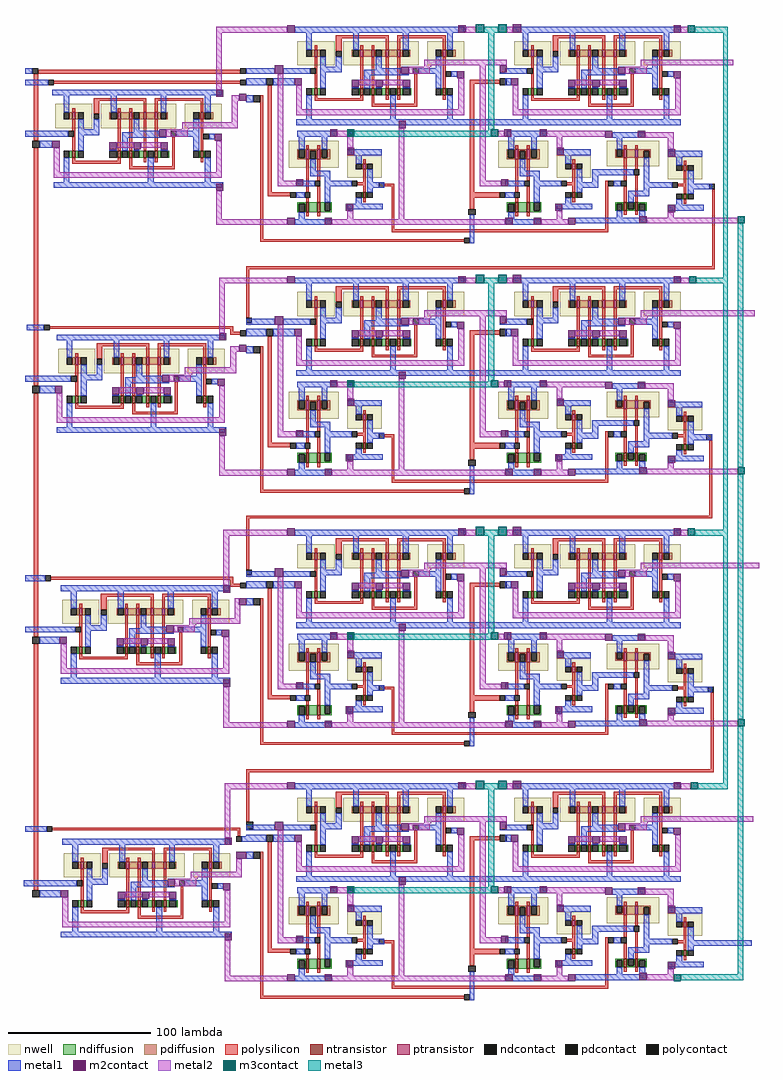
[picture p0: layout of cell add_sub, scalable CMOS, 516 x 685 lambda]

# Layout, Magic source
magic
tech scmos
<< polysilicon >>
rect -146 119 -4 122
rect -149 72 -146 119
rect -135 112 -4 114
rect -149 -100 -146 67
rect 327 -16 329 38
rect 0 -18 329 -16
rect 0 -52 2 -18
rect -138 -60 -9 -58
rect -11 -62 -9 -60
rect -11 -64 -4 -62
rect -149 -276 -146 -105
rect 325 -191 327 -138
rect 0 -193 327 -191
rect 0 -229 2 -193
rect -137 -236 -9 -234
rect -11 -239 -9 -236
rect -11 -241 -4 -239
rect -149 -454 -146 -281
rect 326 -369 328 -315
rect 0 -371 328 -369
rect 0 -406 2 -371
rect -136 -412 -4 -410
rect -6 -416 -4 -412
<< polycontact >>
rect -150 119 -146 123
rect -4 119 0 123
rect -139 111 -135 115
rect -4 111 0 115
rect -150 67 -145 72
rect 325 38 329 42
rect 0 -56 4 -52
rect -142 -61 -138 -57
rect -4 -65 0 -61
rect -150 -105 -145 -100
rect 323 -138 327 -134
rect 0 -233 4 -229
rect -141 -237 -137 -233
rect -4 -242 0 -238
rect -150 -281 -145 -276
rect 324 -315 328 -311
rect -140 -413 -136 -409
rect 0 -411 5 -406
rect -7 -420 -3 -416
rect -150 -459 -145 -454
<< metal1 >>
rect -155 119 -150 123
rect -155 111 -139 115
rect -136 104 -135 108
rect -155 75 -140 79
rect -145 67 -140 72
rect -21 42 -16 43
rect -154 -61 -142 -57
rect -155 -97 -138 -93
rect -145 -105 -138 -100
rect -19 -130 -14 -129
rect -155 -237 -141 -233
rect -155 -273 -135 -269
rect -145 -281 -135 -276
rect -16 -306 -11 -305
rect -155 -413 -140 -409
rect -3 -420 0 -416
rect 3 -432 4 -427
rect -156 -451 -134 -447
rect -145 -459 -134 -454
rect -130 -487 -129 -483
rect -15 -484 -10 -483
rect 323 -493 355 -489
<< m2contact >>
rect 29 148 34 153
rect 300 148 305 153
rect -21 103 -16 108
rect -5 100 0 105
rect -21 37 -16 42
rect 29 13 34 18
rect 29 -28 34 -23
rect 300 -28 305 -23
rect -19 -68 -14 -63
rect -5 -76 0 -71
rect -19 -135 -14 -130
rect 29 -163 34 -158
rect 29 -205 34 -200
rect 300 -205 305 -200
rect -16 -245 -11 -240
rect -5 -254 0 -249
rect -16 -311 -11 -306
rect 29 -340 34 -335
rect 29 -383 34 -378
rect 300 -383 305 -378
rect -15 -422 -10 -417
rect -7 -432 0 -427
rect -15 -489 -10 -484
rect 29 -518 34 -513
<< metal2 >>
rect -21 148 29 152
rect 305 148 310 152
rect -21 108 -17 148
rect 315 125 342 129
rect -10 100 -5 104
rect -10 85 -6 100
rect -13 81 -6 85
rect -21 17 -17 37
rect -21 13 29 17
rect 300 14 345 18
rect -19 -28 29 -24
rect 305 -28 311 -24
rect -19 -63 -15 -28
rect 315 -51 357 -47
rect -11 -76 -5 -72
rect -11 -91 -7 -76
rect -19 -159 -15 -135
rect -19 -163 29 -159
rect 300 -162 345 -158
rect -16 -205 29 -201
rect 305 -205 310 -201
rect -16 -240 -12 -205
rect 315 -228 360 -224
rect -8 -254 -5 -249
rect -8 -267 -4 -254
rect -16 -336 -12 -311
rect -16 -340 29 -336
rect 300 -339 345 -335
rect -15 -383 29 -379
rect 305 -383 312 -379
rect -15 -417 -11 -383
rect 315 -406 356 -402
rect -7 -445 -3 -432
rect -15 -514 -11 -489
rect -15 -518 29 -514
<< m3contact >>
rect 310 148 315 153
rect 345 14 350 19
rect 311 -28 316 -23
rect 345 -162 350 -157
rect 310 -205 315 -200
rect 345 -339 350 -334
rect 312 -383 317 -378
rect 300 -518 305 -513
<< metal3 >>
rect 315 148 338 152
rect 335 -24 338 148
rect 316 -28 338 -24
rect 335 -201 338 -28
rect 315 -205 338 -201
rect 335 -379 338 -205
rect 317 -383 338 -379
rect 345 -157 349 14
rect 345 -334 349 -162
rect 345 -513 349 -339
rect 305 -517 349 -513
use full_adder  full_adder_0
transform 1 0 30 0 1 83
box -30 -83 297 71
use full_adder  full_adder_1
transform 1 0 30 0 1 -93
box -30 -83 297 71
use full_adder  full_adder_2
transform 1 0 30 0 1 -270
box -30 -83 297 71
use full_adder  full_adder_3
transform 1 0 30 0 1 -448
box -30 -83 297 71
use xor  xor_0
transform 1 0 -122 0 1 71
box -18 -32 113 37
use xor  xor_1
transform 1 0 -120 0 1 -101
box -18 -32 113 37
use xor  xor_2
transform 1 0 -117 0 1 -277
box -18 -32 113 37
use xor  xor_3
transform 1 0 -116 0 1 -455
box -18 -32 113 37
<< end >>

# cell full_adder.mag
magic
tech scmos
<< polysilicon >>
rect 127 29 148 32
rect -20 -80 -18 21
rect -15 -47 -12 28
rect 67 -43 74 -41
rect -15 -50 1 -47
rect 72 -73 74 -43
rect 127 -47 130 29
rect 127 -51 148 -47
rect 127 -59 130 -51
rect 222 -73 224 -39
rect 72 -75 224 -73
rect -20 -82 123 -80
<< polycontact >>
rect -16 28 -11 33
rect -25 16 -20 21
rect 63 -44 67 -40
rect 1 -51 5 -47
rect 148 28 153 33
rect 148 -51 152 -47
rect 126 -63 131 -59
rect 224 -43 228 -39
rect 123 -83 127 -79
<< metal1 >>
rect 4 65 5 69
rect -30 36 -10 40
rect -4 36 2 40
rect 148 36 153 37
rect -30 28 -16 33
rect -11 28 0 33
rect -30 16 -25 21
rect 123 0 157 4
rect 213 -35 232 -31
rect 213 -40 217 -35
rect 210 -44 217 -40
rect 292 -45 297 -41
rect 4 -70 5 -66
rect 127 -83 130 -63
rect 201 -69 228 -65
<< m2contact >>
rect 119 65 124 70
rect 157 65 163 71
rect -10 36 -4 42
rect 148 37 153 42
rect 77 -2 82 3
rect 151 -8 156 -3
rect 222 -9 227 -4
rect 5 -43 10 -38
rect 149 -43 154 -38
rect 152 -70 157 -65
rect 196 -70 201 -65
<< metal2 >>
rect 124 65 131 69
rect 153 65 157 69
rect 127 42 153 46
rect 283 42 289 46
rect -8 -39 -4 36
rect -8 -43 5 -39
rect 77 -66 81 -2
rect 134 -39 138 42
rect 147 -8 151 -4
rect 188 -8 222 -4
rect 134 -43 149 -39
rect 40 -70 152 -66
rect 187 -70 196 -66
<< m3contact >>
rect 131 65 137 71
rect 147 65 153 71
rect 41 -8 46 -3
rect 142 -8 147 -3
<< metal3 >>
rect 137 65 147 69
rect 140 -3 144 65
rect 140 -4 142 -3
rect 46 -8 142 -4
use or  or_0
transform 1 0 222 0 1 -69
box 1 0 70 65
use and  and_1
transform 1 0 147 0 1 -70
box 0 0 67 67
use xor  xor_1
transform 1 0 170 0 1 32
box -18 -32 113 37
use and  and_0
transform 1 0 0 0 1 -70
box 0 0 67 67
use xor  xor_0
transform 1 0 18 0 1 32
box -18 -32 113 37
<< end >>

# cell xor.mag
magic
tech scmos
<< nwell >>
rect -12 10 14 27
rect 20 10 73 27
rect 79 10 105 27
<< ntransistor >>
rect 0 -11 2 -6
rect 32 -11 34 -6
rect 40 -11 42 -6
rect 50 -11 52 -6
rect 58 -11 60 -6
rect 90 -11 92 -6
<< ptransistor >>
rect 0 16 2 21
rect 32 16 34 21
rect 40 16 42 21
rect 50 16 52 21
rect 58 16 60 21
rect 90 16 92 21
<< ndiffusion >>
rect -2 -11 0 -6
rect 2 -11 4 -6
rect 31 -11 32 -6
rect 34 -11 35 -6
rect 39 -11 40 -6
rect 42 -11 43 -6
rect 47 -11 50 -6
rect 52 -11 53 -6
rect 57 -11 58 -6
rect 60 -11 62 -6
rect 67 -11 68 -6
rect 89 -11 90 -6
rect 92 -11 93 -6
<< pdiffusion >>
rect -2 16 0 21
rect 2 16 4 21
rect 26 16 27 21
rect 31 16 32 21
rect 34 16 40 21
rect 42 16 43 21
rect 47 16 50 21
rect 52 16 58 21
rect 60 16 62 21
rect 66 16 67 21
rect 89 16 90 21
rect 92 16 93 21
rect 97 16 99 21
<< ndcontact >>
rect -6 -11 -2 -6
rect 4 -11 8 -6
rect 26 -11 31 -6
rect 35 -11 39 -6
rect 43 -11 47 -6
rect 53 -11 57 -6
rect 62 -11 67 -6
rect 85 -11 89 -6
rect 93 -11 97 -6
<< pdcontact >>
rect -6 16 -2 21
rect 4 16 8 21
rect 27 16 31 21
rect 43 16 47 21
rect 62 16 66 21
rect 85 16 89 21
rect 93 16 97 21
<< polysilicon >>
rect 15 29 52 31
rect 0 21 2 24
rect 15 20 19 29
rect 32 21 34 24
rect 40 21 42 24
rect 50 21 52 29
rect 58 29 92 31
rect 58 21 60 29
rect 90 21 92 29
rect 0 8 2 16
rect 1 4 2 8
rect 0 -6 2 4
rect 32 -6 34 16
rect 40 -6 42 16
rect 50 -6 52 16
rect 58 -6 60 16
rect 0 -13 2 -11
rect 32 -13 34 -11
rect 0 -15 34 -13
rect 40 -17 42 -11
rect 50 -14 52 -11
rect 58 -14 60 -11
rect 70 -17 72 4
rect 90 -6 92 16
rect 90 -14 92 -11
rect 40 -19 72 -17
<< polycontact >>
rect 15 16 19 20
rect -3 4 1 8
rect 69 4 73 8
rect 92 2 96 6
<< metal1 >>
rect -13 33 105 37
rect -6 21 -2 33
rect 27 21 31 33
rect 62 21 66 33
rect 93 21 97 33
rect 4 9 8 16
rect 15 9 19 16
rect -18 4 -3 8
rect 4 5 19 9
rect 43 8 47 16
rect 43 7 61 8
rect -18 -4 -14 1
rect 4 -6 8 5
rect 35 4 61 7
rect 85 8 89 16
rect 73 4 89 8
rect 35 3 66 4
rect 26 -6 31 -5
rect 35 -6 39 3
rect 43 -6 47 -5
rect 62 -6 67 -5
rect 85 -6 89 4
rect 96 2 100 6
rect -6 -28 -2 -11
rect 53 -28 57 -11
rect 93 -28 97 -11
rect -13 -32 105 -28
<< m2contact >>
rect -14 -4 -9 1
rect 61 4 66 9
rect 26 -5 31 0
rect 43 -5 48 0
rect 62 -5 67 0
rect 100 1 105 6
<< metal2 >>
rect 77 10 113 14
rect 77 9 82 10
rect 66 4 81 9
rect -13 -21 -9 -4
rect 31 -4 43 0
rect 48 -4 62 0
rect 101 -21 105 1
rect -13 -25 105 -21
<< end >>

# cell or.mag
magic
tech scmos
<< metal1 >>
rect 5 60 6 64
rect 6 34 7 38
rect 6 26 7 30
rect 34 25 45 29
rect 69 24 70 28
rect 6 0 7 4
<< m2contact >>
rect 23 60 28 65
rect 44 47 49 52
rect 44 8 49 13
rect 24 0 29 5
<< metal2 >>
rect 28 60 48 64
rect 44 52 48 60
rect 44 4 48 8
rect 29 0 48 4
use inverter  inverter_0
transform 1 0 76 0 1 43
box -32 -34 -7 8
use nor  nor_0
transform 1 0 1 0 1 40
box 0 -40 37 24
<< end >>

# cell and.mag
magic
tech scmos
<< metal1 >>
rect 6 62 7 66
rect 5 27 6 31
rect 28 27 41 31
rect 66 26 67 30
rect 5 19 6 23
rect 5 0 6 4
<< m2contact >>
rect 29 62 34 67
rect 41 49 46 54
rect 40 10 45 15
rect 25 0 30 5
<< metal2 >>
rect 34 62 45 66
rect 41 54 45 62
rect 41 4 45 10
rect 30 0 45 4
use nand  nand_0
transform 1 0 18 0 1 40
box -18 -40 17 26
use inverter  inverter_0
transform 1 0 73 0 1 45
box -32 -34 -7 8
<< end >>

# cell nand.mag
magic
tech scmos
<< nwell >>
rect -18 0 17 19
<< ntransistor >>
rect -6 -31 -4 -24
rect 2 -31 4 -24
<< ptransistor >>
rect -6 6 -4 13
rect 2 6 4 13
<< ndiffusion >>
rect -12 -25 -6 -24
rect -12 -31 -11 -25
rect -7 -31 -6 -25
rect -4 -31 2 -24
rect 4 -30 7 -24
rect 11 -30 12 -24
rect 4 -31 12 -30
<< pdiffusion >>
rect -12 7 -11 13
rect -7 7 -6 13
rect -12 6 -6 7
rect -4 12 2 13
rect -4 6 -3 12
rect 1 6 2 12
rect 4 7 5 13
rect 9 7 11 13
rect 4 6 11 7
<< ndcontact >>
rect -11 -31 -7 -25
rect 7 -30 11 -24
<< pdcontact >>
rect -11 7 -7 13
rect -3 6 1 12
rect 5 7 9 13
<< polysilicon >>
rect -6 13 -4 16
rect 2 13 4 16
rect -6 -17 -4 6
rect 2 -9 4 6
rect -6 -24 -4 -21
rect 2 -24 4 -13
rect -6 -34 -4 -31
rect 2 -34 4 -31
<< polycontact >>
rect 0 -13 4 -9
rect -7 -21 -3 -17
<< metal1 >>
rect -11 22 16 26
rect -11 13 -7 22
rect 5 13 9 22
rect -3 -2 1 6
rect -3 -6 11 -2
rect 7 -9 11 -6
rect -12 -13 0 -9
rect 7 -13 14 -9
rect -12 -21 -7 -17
rect 7 -24 11 -13
rect -11 -36 -7 -31
rect -12 -40 12 -36
<< end >>

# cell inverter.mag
magic
tech scmos
<< nwell >>
rect -32 -12 -8 4
<< ntransistor >>
rect -21 -26 -19 -22
<< ptransistor >>
rect -21 -6 -19 -2
<< ndiffusion >>
rect -22 -26 -21 -22
rect -19 -26 -18 -22
<< pdiffusion >>
rect -22 -6 -21 -2
rect -19 -6 -18 -2
<< ndcontact >>
rect -26 -26 -22 -22
rect -18 -26 -14 -22
<< pdcontact >>
rect -26 -6 -22 -2
rect -18 -6 -14 -2
<< polysilicon >>
rect -21 -2 -19 1
rect -21 -15 -19 -6
rect -25 -17 -19 -15
rect -21 -22 -19 -17
rect -21 -29 -19 -26
<< polycontact >>
rect -29 -18 -25 -14
<< metal1 >>
rect -32 4 -8 8
rect -26 -2 -22 4
rect -32 -18 -29 -14
rect -18 -15 -14 -6
rect -18 -19 -7 -15
rect -18 -22 -14 -19
rect -26 -30 -22 -26
rect -32 -34 -7 -30
<< end >>

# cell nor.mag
magic
tech scmos
<< nwell >>
rect 0 0 37 18
<< ntransistor >>
rect 12 -31 14 -25
rect 20 -31 22 -25
<< ptransistor >>
rect 12 6 14 12
rect 20 6 22 12
<< ndiffusion >>
rect 6 -26 12 -25
rect 6 -31 7 -26
rect 11 -31 12 -26
rect 14 -30 15 -25
rect 19 -30 20 -25
rect 14 -31 20 -30
rect 22 -26 28 -25
rect 22 -31 23 -26
rect 27 -31 28 -26
<< pdiffusion >>
rect 6 7 7 12
rect 11 7 12 12
rect 6 6 12 7
rect 14 6 20 12
rect 22 11 31 12
rect 22 6 26 11
rect 30 6 31 11
<< ndcontact >>
rect 7 -31 11 -26
rect 15 -30 19 -25
rect 23 -31 27 -26
<< pdcontact >>
rect 7 7 11 12
rect 26 6 30 11
<< polysilicon >>
rect 12 12 14 15
rect 20 12 22 15
rect 12 -10 14 6
rect 20 -2 22 6
rect 12 -25 14 -14
rect 20 -25 22 -6
rect 12 -34 14 -31
rect 20 -34 22 -31
<< polycontact >>
rect 19 -6 23 -2
rect 10 -14 14 -10
<< metal1 >>
rect 5 20 27 24
rect 7 12 11 20
rect 6 -6 19 -2
rect 6 -14 10 -10
rect 26 -11 30 6
rect 26 -15 34 -11
rect 26 -17 30 -15
rect 15 -21 30 -17
rect 15 -25 19 -21
rect 7 -36 11 -31
rect 23 -36 27 -31
rect 6 -40 28 -36
<< end >>
